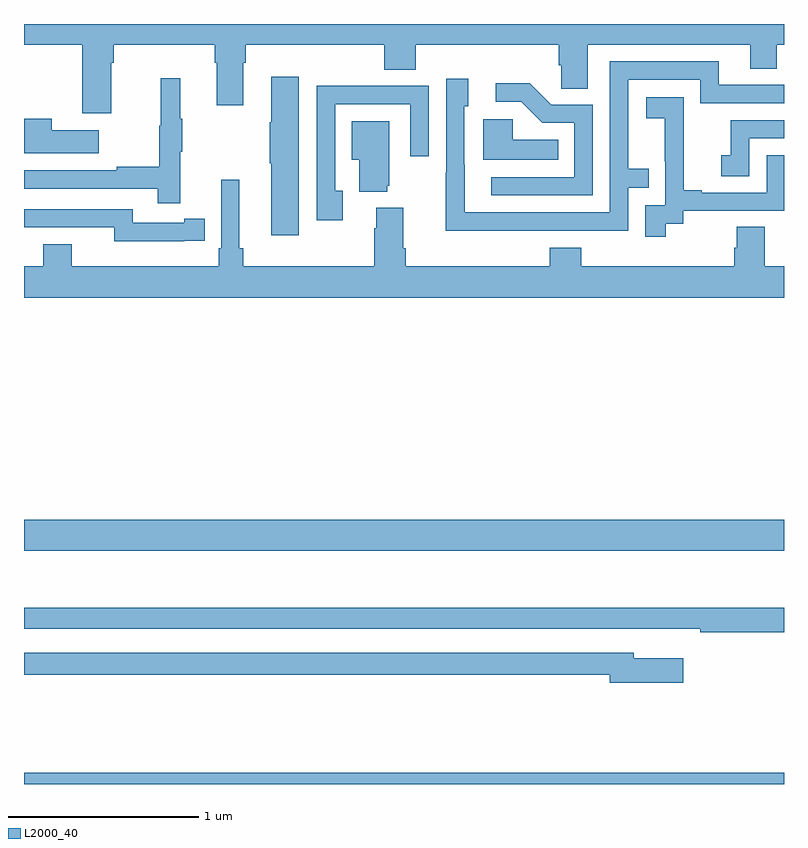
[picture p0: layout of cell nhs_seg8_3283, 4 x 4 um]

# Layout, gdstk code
import gdstk
lib = gdstk.Library(unit=1e-6, precision=1e-09)
def R(c, l, rs):  # rectangles x0, y0, x1, y1
    for r in rs: c.add(gdstk.rectangle(r[:2], r[2:], *l))
def P(c, l, *ps):  # polygons
    for p in ps: c.add(gdstk.Polygon(p, *l))
L2000_40 = (2000, 40)

nhs_seg8_3283 = lib.new_cell('nhs_seg8_3283')
R(nhs_seg8_3283, L2000_40, [(313,1153.9,317,1153.96), (313,1155.128,317,1155.292)])
P(nhs_seg8_3283, L2000_40, [(313.459,1157.696),(313.472,1157.696),(313.472,1157.792),(314.003,1157.792),(314.003,1157.696),(314.015,1157.696),(314.015,1157.472),(314.155,1157.472),(314.155,1157.696),(314.168,1157.696),(314.168,1157.792),(314.897,1157.792),(314.897,1157.659),(315.062,1157.659),(315.062,1157.792),(315.815,1157.792),(315.815,1157.683),(315.828,1157.683),(315.828,1157.56),(315.967,1157.56),(315.967,1157.792),(316.823,1157.792),(316.823,1157.665),(316.962,1157.665),(316.962,1157.792),(317,1157.792),(317,1157.9),(313,1157.9),(313,1157.792),(313.307,1157.792),(313.307,1157.43),(313.459,1157.43)],
  [(315.683,1156.812),(316.179,1156.812),(316.179,1157.037),(316.289,1157.037),(316.289,1157.138),(316.179,1157.138),(316.179,1157.607),(316.56,1157.607),(316.56,1157.484),(317,1157.484),(317,1157.58),(316.657,1157.58),(316.657,1157.703),(316.083,1157.703),(316.083,1156.908),(315.319,1156.908),(315.319,1157.159),(315.318,1157.159),(315.318,1157.466),(315.337,1157.466),(315.337,1157.611),(315.222,1157.611),(315.222,1157.117),(315.22,1157.117),(315.22,1156.811),(315.683,1156.811)],
  [(314.446,1157.623),(314.3,1157.623),(314.3,1157.384),(314.293,1157.384),(314.293,1157.167),(314.3,1157.167),(314.3,1156.788),(314.446,1156.788)],
  [(313.823,1157.227),(313.834,1157.227),(313.834,1157.401),(313.823,1157.401),(313.823,1157.614),(313.72,1157.614),(313.72,1157.364),(313.713,1157.364),(313.713,1157.15),(313.489,1157.15),(313.489,1157.13),(313,1157.13),(313,1157.034),(313.705,1157.034),(313.705,1156.956),(313.823,1156.956)],
  [(315.993,1157.475),(315.774,1157.475),(315.661,1157.588),(315.483,1157.588),(315.483,1157.49),(315.617,1157.49),(315.728,1157.379),(315.897,1157.379),(315.897,1157.094),(315.459,1157.094),(315.459,1156.998),(315.993,1156.998)],
  [(314.677,1157.022),(314.637,1157.022),(314.637,1157.478),(315.033,1157.478),(315.033,1157.205),(315.129,1157.205),(315.129,1157.574),(314.813,1157.574),(314.813,1157.576),(314.541,1157.576),(314.541,1156.866),(314.677,1156.866)],
  [(316.378,1156.849),(316.47,1156.849),(316.47,1156.917),(317,1156.917),(317,1157.208),(316.908,1157.208),(316.908,1157.013),(316.567,1157.013),(316.567,1157.026),(316.472,1157.026),(316.472,1157.309),(316.473,1157.309),(316.473,1157.515),(316.275,1157.515),(316.275,1157.405),(316.373,1157.405),(316.373,1157.177),(316.374,1157.177),(316.374,1156.947),(316.269,1156.947),(316.269,1156.779),(316.378,1156.779)],
  [(313.393,1157.341),(313.145,1157.341),(313.145,1157.401),(313,1157.401),(313,1157.219),(313.393,1157.219)],
  [(315.812,1157.29),(315.573,1157.29),(315.573,1157.398),(315.416,1157.398),(315.416,1157.186),(315.812,1157.186)],
  [(316.818,1157.298),(317,1157.298),(317,1157.394),(316.72,1157.394),(316.72,1157.209),(316.671,1157.209),(316.671,1157.1),(316.818,1157.1)],
  [(314.912,1157.049),(314.923,1157.049),(314.923,1157.389),(314.726,1157.389),(314.726,1157.186),(314.765,1157.186),(314.765,1157.018),(314.912,1157.018)],
  [(313.844,1156.758),(313.952,1156.758),(313.952,1156.874),(313.844,1156.874),(313.844,1156.854),(313.572,1156.854),(313.572,1156.926),(313,1156.926),(313,1156.829),(313.016,1156.829),(313.016,1156.83),(313.476,1156.83),(313.476,1156.757),(313.844,1156.757)],
  [(316.751,1156.832),(316.751,1156.722),(316.739,1156.722),(316.739,1156.624),(315.932,1156.624),(315.932,1156.723),(315.767,1156.723),(315.767,1156.624),(315.008,1156.624),(315.008,1156.72),(314.995,1156.72),(314.995,1156.933),(314.855,1156.933),(314.855,1156.826),(314.843,1156.826),(314.843,1156.624),(314.153,1156.624),(314.153,1156.72),(314.134,1156.72),(314.134,1157.08),(314.037,1157.08),(314.037,1156.72),(314.024,1156.72),(314.024,1156.624),(313.252,1156.624),(313.252,1156.741),(313.1,1156.741),(313.1,1156.624),(313,1156.624),(313,1156.46),(317,1156.46),(317,1156.624),(316.899,1156.624),(316.899,1156.832)],
  [(317,1154.827),(313,1154.827),(313,1154.718),(316.306,1154.718),(316.306,1154.717),(316.558,1154.717),(316.558,1154.698),(317,1154.698)],
  [(316.471,1154.563),(316.21,1154.563),(316.21,1154.592),(313,1154.592),(313,1154.476),(316.082,1154.476),(316.082,1154.434),(316.471,1154.434)])

lib.write_gds('nhs_seg8_3283.gds')
